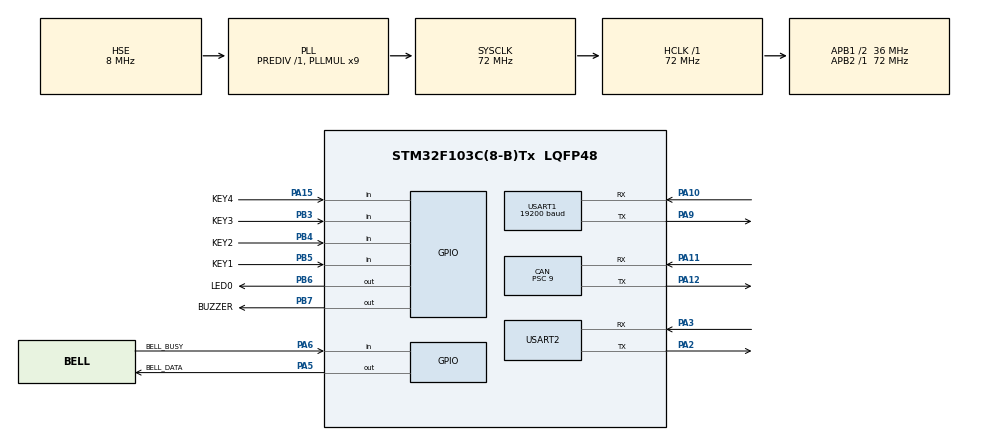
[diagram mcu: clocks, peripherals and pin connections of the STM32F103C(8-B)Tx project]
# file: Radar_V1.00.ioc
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CAN.BS1=CAN_BS1_7TQ
CAN.BS2=CAN_BS2_8TQ
CAN.CalculateTimeBit=4000
CAN.CalculateTimeQuantum=250.0
CAN.Prescaler=9
Dma.Request0=USART1_RX
Dma.Request1=USART2_RX
Dma.USART1_RX.0.Direction=DMA_PERIPH_TO_MEMORY
Dma.USART1_RX.0.Instance=DMA1_Channel5
Dma.USART1_RX.0.MemDataAlignment=DMA_MDATAALIGN_BYTE
Dma.USART1_RX.0.MemInc=DMA_MINC_ENABLE
Dma.USART1_RX.0.Mode=DMA_NORMAL
Dma.USART1_RX.0.PeriphDataAlignment=DMA_PDATAALIGN_BYTE
Dma.USART1_RX.0.PeriphInc=DMA_PINC_DISABLE
Dma.USART1_RX.0.Priority=DMA_PRIORITY_LOW
Dma.USART2_RX.1.Direction=DMA_PERIPH_TO_MEMORY
Dma.USART2_RX.1.Instance=DMA1_Channel6
Dma.USART2_RX.1.MemDataAlignment=DMA_MDATAALIGN_BYTE
Dma.USART2_RX.1.MemInc=DMA_MINC_ENABLE
Dma.USART2_RX.1.Mode=DMA_NORMAL
Dma.USART2_RX.1.PeriphDataAlignment=DMA_PDATAALIGN_BYTE
Dma.USART2_RX.1.PeriphInc=DMA_PINC_DISABLE
Dma.USART2_RX.1.Priority=DMA_PRIORITY_LOW
Mcu.Family=STM32F1
Mcu.Name=STM32F103C(8-B)Tx
Mcu.Package=LQFP48
NVIC.DMA1_Channel5_IRQn=true\:0\:0\:false\:false\:true\:false
NVIC.DMA1_Channel6_IRQn=true\:0\:0\:false\:false\:true\:false
NVIC.PriorityGroup=NVIC_PRIORITYGROUP_4
NVIC.TIM2_IRQn=true\:3\:0\:true\:false\:true\:true
NVIC.USART1_IRQn=true\:4\:0\:true\:false\:true\:true
NVIC.USART2_IRQn=true\:1\:0\:true\:false\:true\:true
NVIC.USB_LP_CAN1_RX0_IRQn=true\:0\:0\:false\:false\:true\:true
PA10.Mode=Asynchronous
PA10.Signal=USART1_RX
PA11.Mode=Master
PA11.Signal=CAN_RX
PA12.Mode=Master
PA12.Signal=CAN_TX
PA13.Mode=Serial_Wire
PA13.Signal=SYS_JTMS-SWDIO
PA14.Mode=Serial_Wire
PA14.Signal=SYS_JTCK-SWCLK
PA15.GPIO_Label=KEY4
PA15.Signal=GPIO_Input
PA2.Mode=Asynchronous
PA2.Signal=USART2_TX
PA3.Mode=Asynchronous
PA3.Signal=USART2_RX
PA5.GPIO_Label=BELL_DATA
PA5.GPIO_Speed=GPIO_SPEED_FREQ_MEDIUM
PA5.PinState=GPIO_PIN_SET
PA5.Signal=GPIO_Output
PA6.GPIO_Label=BELL_BUSY
PA6.GPIO_PuPd=GPIO_PULLUP
PA6.Signal=GPIO_Input
PA9.Mode=Asynchronous
PA9.Signal=USART1_TX
PB3.GPIO_Label=KEY3
PB3.Signal=GPIO_Input
PB4.GPIO_Label=KEY2
PB4.Signal=GPIO_Input
PB5.GPIO_Label=KEY1
PB5.Signal=GPIO_Input
PB6.GPIO_Label=LED0
PB6.PinState=GPIO_PIN_SET
PB6.Signal=GPIO_Output
PB7.GPIO_Label=BUZZER
PB7.PinState=GPIO_PIN_RESET
PB7.Signal=GPIO_Output
PD0-OSC_IN.Mode=HSE-External-Oscillator
PD0-OSC_IN.Signal=RCC_OSC_IN
PD1-OSC_OUT.Mode=HSE-External-Oscillator
PD1-OSC_OUT.Signal=RCC_OSC_OUT
ProjectManager.HeapSize=0x200
ProjectManager.StackSize=0x400
ProjectManager.TargetToolchain=MDK-ARM V5
RCC.AHBFreq_Value=72000000
RCC.APB1CLKDivider=RCC_HCLK_DIV2
RCC.APB1Freq_Value=36000000
RCC.APB1TimFreq_Value=72000000
RCC.APB2Freq_Value=72000000
RCC.APB2TimFreq_Value=72000000
RCC.HCLKFreq_Value=72000000
RCC.PLLMUL=RCC_PLL_MUL9
RCC.PLLSourceVirtual=RCC_PLLSOURCE_HSE
RCC.SYSCLKFreq_VALUE=72000000
RCC.SYSCLKSource=RCC_SYSCLKSOURCE_PLLCLK
RCC.USBFreq_Value=72000000
TIM2.AutoReloadPreload=TIM_AUTORELOAD_PRELOAD_ENABLE
TIM2.Period=1000 - 1
TIM2.Prescaler=72 * 500 -1
USART1.BaudRate=19200
USART1.VirtualMode=VM_ASYNC
USART2.VirtualMode=VM_ASYNC
VP_TIM2_VS_ClockSourceINT.Mode=Internal
board=Radar_V1.00

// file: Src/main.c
/**
  ******************************************************************************
  * File Name          : main.c
  * Description        : Main program body
  ******************************************************************************
  ** This notice applies to any and all portions of this file
  * that are not between comment pairs USER CODE BEGIN and
  * USER CODE END. Other portions of this file, whether
  * inserted by the user or by software development tools
  * are owned by their respective copyright owners.
  *
  * COPYRIGHT(c) 2018 STMicroelectronics
  *
  * Redistribution and use in source and binary forms, with or without modification,
  * are permitted provided that the following conditions are met:
  *   1. Redistributions of source code must retain the above copyright notice,
  *      this list of conditions and the following disclaimer.
  *   2. Redistributions in binary form must reproduce the above copyright notice,
  *      this list of conditions and the following disclaimer in the documentation
  *      and/or other materials provided with the distribution.
  *   3. Neither the name of STMicroelectronics nor the names of its contributors
  *      may be used to endorse or promote products derived from this software
  *      without specific prior written permission.
  *
  * THIS SOFTWARE IS PROVIDED BY THE COPYRIGHT HOLDERS AND CONTRIBUTORS "AS IS"
  * AND ANY EXPRESS OR IMPLIED WARRANTIES, INCLUDING, BUT NOT LIMITED TO, THE
  * IMPLIED WARRANTIES OF MERCHANTABILITY AND FITNESS FOR A PARTICULAR PURPOSE ARE
  * DISCLAIMED. IN NO EVENT SHALL THE COPYRIGHT HOLDER OR CONTRIBUTORS BE LIABLE
  * FOR ANY DIRECT, INDIRECT, INCIDENTAL, SPECIAL, EXEMPLARY, OR CONSEQUENTIAL
  * DAMAGES (INCLUDING, BUT NOT LIMITED TO, PROCUREMENT OF SUBSTITUTE GOODS OR
  * SERVICES; LOSS OF USE, DATA, OR PROFITS; OR BUSINESS INTERRUPTION) HOWEVER
  * CAUSED AND ON ANY THEORY OF LIABILITY, WHETHER IN CONTRACT, STRICT LIABILITY,
  * OR TORT (INCLUDING NEGLIGENCE OR OTHERWISE) ARISING IN ANY WAY OUT OF THE USE
  * OF THIS SOFTWARE, EVEN IF ADVISED OF THE POSSIBILITY OF SUCH DAMAGE.
  *
  ******************************************************************************
  */

#include "main.h"
#include "stm32f1xx_hal.h"

/* USER CODE BEGIN Includes */
#include "WTN6.h"
#include "delay.h"
#include "DWINTFT_Radar.h"
#include "InternalFlash.h"
#include "hardware_init.h"

#define MAX_PROBE_NUM 8
#define PROBE_VERSION PROBE_VERSION_8
#define PROBE_VERSION_8	0x01
#define PROBE_VERSION_10 0x03
#define TFT_RX_BUF_SIZE 32
#define CAN_FIFO_NUM_SEL 0
#define BYD_MODEL 0
#define BELL_ENABLE 0
#define VALID 0
#define INVALID 1
/* USER CODE END Includes */

CAN_HandleTypeDef hcan;

TIM_HandleTypeDef htim2;

UART_HandleTypeDef huart1;
UART_HandleTypeDef huart2;
DMA_HandleTypeDef hdma_usart1_rx;
DMA_HandleTypeDef hdma_usart2_rx;

/* USER CODE BEGIN PV */
/* Private variables ---------------------------------------------------------*/
uint8_t RadarRxComplete=0;				//雷达串口收到数据标志位
uint8_t TFTRxComplete=0;					//触摸屏收到数据标志位
uint8_t speed_flag = 0;           //收到速度数据信息
uint8_t CANRxFlag = 0;
uint8_t CANSpeedEnable;
uint8_t RadarRxBuf[32];						//雷达接收缓存
uint8_t TFTRxBuf[TFT_RX_BUF_SIZE];//触摸屏接收缓存
uint8_t vehicle_speed = 0;
uint8_t CANTxBuf[8]={0x00,0x7D,0x7D,0xAF,0x64,0x64,0x64,0xFF};
uint32_t RadarLimitDist=0x96;					//默认是1.5米
uint32_t RadarProbeOrder[10]={1,2,3,4,5,6,7,8,9,10};

/* USER CODE END PV */

void SystemClock_Config(void);
static void MX_GPIO_Init(void);
static void MX_DMA_Init(void);
static void MX_CAN_Init(void);
static void MX_TIM2_Init(void);
static void MX_USART1_UART_Init(void);
static void MX_USART2_UART_Init(void);

/* USER CODE BEGIN PFP */
/* Private function prototypes -----------------------------------------------*/
typedef struct
{
  uint8_t fornt_door;
  uint8_t rear_door;
  uint8_t vehicle_back;
  uint8_t vehicle_speed;
}RadarState_TypeDef;

static void CAN1_Filter_Speed_Init(void);
static void CAN_RxTx_Init(void);
uint8_t CheckRadarSerialData(uint8_t *pRxBuf);
void SequenceRadarProbeDist(uint8_t MaxProbeNum, uint32_t *pRadarProbeOrder, uint8_t *pRadarProbeDist, uint8_t *pRadarRxBuf);
uint8_t GetRadarMinDist(uint8_t MaxProbeNum, uint8_t *pRadarProbeDist);
uint8_t GetBellFlag(uint8_t RadarMinDist, uint8_t RadarLimitDist, RadarState_TypeDef *pRadarState);
void GetRadarState(RadarState_TypeDef *pRadar_State, uint8_t *pRadarRxBuf);
void PlayWarningSound(uint8_t BellFlag);

/* USER CODE END PFP */

int main(void)
{

  /* USER CODE BEGIN 1 */
	uint8_t i=0;
	uint8_t temp;
	uint32_t WTN6_Volume=0x03;						//默认最大音量
  uint32_t RadarExchangeLoc1=0x33;      //雷达探头交换位置1
  uint32_t RadarExchangeLoc2=0x33;      //雷达探头交换位置2
	uint8_t MaxProbeNum=8;
  uint8_t Radar_Exchange_flag = 0;
	RadarState_TypeDef RadarState={0,0,0,0};
	uint8_t BellFlag = TFT_BLANK;					//所在区域报警声音
	uint8_t LastBellFlag = TFT_BLANK;			//上次所在区域报警声音
	uint8_t RadarMinDist = 0x96;          //最大值1.5米，用来存探头最小距离
  /* USER CODE END 1 */

  /* MCU Configuration----------------------------------------------------------*/

  /* Reset of all peripherals, Initializes the Flash interface and the Systick. */
  HAL_Init();

  /* Configure the system clock */
  SystemClock_Config();

  /* Initialize all configured peripherals */
  MX_GPIO_Init();
  MX_DMA_Init();
  MX_CAN_Init();
  MX_TIM2_Init();
  MX_USART1_UART_Init();
  MX_USART2_UART_Init();

  /* USER CODE BEGIN 2 */
	HAL_Delay(2000);
  CAN1_Filter_Speed_Init();					//CAN滤波器初始化
  CAN_RxTx_Init();									//CAN发送接收初始化
	delay_init(72);

	TFT_SetProbeVersion(&huart2, PROBE_VERSION);	//设置探头版本
	//探头距离初始化
	RadarLimitDist = (uint8_t)LoadSetVal(FLASH_USER_START_ADDR+RADAR_LIMIT_OFFSET_ADDR);
	uint8_t RadarProbeDist[8];	//目前缓存里的距离设置为最远距离
	for(i=0;i<MaxProbeNum;i++) RadarProbeDist[i]=RadarLimitDist;
	//系统音量初始化
	WTN6_Volume = (uint8_t)LoadSetVal(FLASH_USER_START_ADDR+WTN6_VOLUME_OFFSET_ADDR);
	WTN6_SetVolume((uint8_t)WTN6_Volume);
	//探头顺序初始化
	LoadSetArray(FLASH_USER_START_ADDR+RADAR_PROBE_OFFSET_ADDR, RadarProbeOrder, MaxProbeNum);
  //set RadarProbeOrder
  TFT_SetRadarOrder(&huart2, RadarProbeOrder, MaxProbeNum);

	__HAL_UART_ENABLE_IT(&huart1, UART_IT_IDLE);//radar interrupt enable
	__HAL_UART_ENABLE_IT(&huart2, UART_IT_IDLE);//TFT interrupt enable

  /* USER CODE END 2 */

  /* Infinite loop */
  while (1)
  {

  /* USER CODE BEGIN 3 */
    HAL_CAN_Receive_IT(&hcan, CAN_FIFO0);         //接收CAN线车速信息
		HAL_UART_Receive_DMA(&huart1, RadarRxBuf, 32);//接收雷达距离信息
		HAL_UART_Receive_DMA(&huart2, TFTRxBuf, TFT_RX_BUF_SIZE);//接收屏幕回传指令

		if(RadarRxComplete == 1)//雷达接收完成，进行解析
		{
			RadarRxComplete=0;
			HAL_GPIO_TogglePin(LED0_GPIO_Port, LED0_Pin);																				//灯闪烁 提示接收到雷达数据
			if(VALID == CheckRadarSerialData(RadarRxBuf))																				//如果雷达串口数据校验通过
			{
				SequenceRadarProbeDist(MAX_PROBE_NUM, RadarProbeOrder, RadarProbeDist, RadarRxBuf);//将雷达探头数据对应排序
        RadarMinDist=GetRadarMinDist(MaxProbeNum, RadarProbeDist);												//获取最小雷达探头检测距离
				GetRadarState(&RadarState, RadarRxBuf);
        BellFlag=GetBellFlag(RadarMinDist, RadarLimitDist, &RadarState);									//根据最小距离用喇叭警示
        if(BellFlag!=LastBellFlag)
				{
					PlayWarningSound(BellFlag);
					LastBellFlag=BellFlag;
				}
				TFT_DispRadarDist(&huart2,  RadarMinDist); 																				//显示屏显示最小距离探头数据
				TFT_DispRadarColor(&huart2, RadarProbeDist, MaxProbeNum);													//显示屏显示颜色（波形）表示探头距离
			}
		}

		if(TFTRxComplete == 1)//屏幕信息接收完成，进行解析
		{
			TFTRxComplete=0;
      if(TFTRxBuf[0] == 0x5A && TFTRxBuf[1] == 0xA5)//判断帧头
      {
        switch(TFTRxBuf[2])
        {
          case 0x03:      //检测过滤ack指令
            break;
          case 0x18:      //读探头顺序
            for(i = 0; i < MAX_PROBE_NUM; i++)
            {
              RadarProbeOrder[i] = TFTRxBuf[8 + 2 * i];//5A A5 18 83 2004 0A +十个字长数据
            }
            break;
          case 0x08:      //有按钮按下
            switch(TFTRxBuf[5])//解析屏幕按钮按下指令
            {
              case 0x04:        //探头界面-探头按下
								if(RadarExchangeLoc1 != TFTRxBuf[10] - 1)
								{
									//存要交换的两个探头位置号（从0开始）
									if(!Radar_Exchange_flag)
									{
										Radar_Exchange_flag = 1;
										RadarExchangeLoc1 = TFTRxBuf[10] - 1;
									}
									else
									{
										Radar_Exchange_flag = 0;
										RadarExchangeLoc2 = TFTRxBuf[10] - 1;
									}
								}
                break;
              case 0x06:        //探头界面-确认按下
								if(RadarExchangeLoc1 || RadarExchangeLoc2)
                {
									temp = RadarProbeOrder[RadarExchangeLoc1];//交换探头顺序号
									RadarProbeOrder[RadarExchangeLoc1] = RadarProbeOrder[RadarExchangeLoc2];
                  RadarProbeOrder[RadarExchangeLoc2] = temp;
                  FlashWrite_ArrayUint32(FLASH_USER_START_ADDR+RADAR_PROBE_OFFSET_ADDR, (uint32_t *)RadarProbeOrder, MaxProbeNum);														//写入默认数组
                  //调用设置探头函数
                  TFT_SetRadarOrder(&huart2, RadarProbeOrder, MaxProbeNum);
                }
                break;
              case 0x00:        //音量界面-确认按下
								WTN6_Volume = TFTRxBuf[10];
                WTN6_SetVolume(WTN6_Volume);
                FlashWrite_SingleUint32(FLASH_USER_START_ADDR+WTN6_VOLUME_OFFSET_ADDR, WTN6_Volume);
                break;
              case 0x02:        //距离界面-确认按下
								//收到0x05表示0.5m，0x0F表示1.5m
                RadarLimitDist = TFTRxBuf[10] * 10;
                FlashWrite_SingleUint32(FLASH_USER_START_ADDR+RADAR_LIMIT_OFFSET_ADDR, RadarLimitDist);
                break;
              default:
                break;
            }
            break;
          default: break;
        }
      }
		}

    //显示屏显示车速
    if(speed_flag)
    {
      speed_flag = 0;
      TFT_DispVehicleSpeed(&huart2, vehicle_speed);//send speed read from can
      __HAL_CAN_ENABLE_IT(&hcan,CAN_IT_FMP0); //重新开启FIF00消息挂号中断
    }
  /* USER CODE END 3 */
	}

}

/** System Clock Configuration
*/
void SystemClock_Config(void)
{

  RCC_OscInitTypeDef RCC_OscInitStruct;
  RCC_ClkInitTypeDef RCC_ClkInitStruct;

    /**Initializes the CPU, AHB and APB busses clocks
    */
  RCC_OscInitStruct.OscillatorType = RCC_OSCILLATORTYPE_HSE;
  RCC_OscInitStruct.HSEState = RCC_HSE_ON;
  RCC_OscInitStruct.HSEPredivValue = RCC_HSE_PREDIV_DIV1;
  RCC_OscInitStruct.HSIState = RCC_HSI_ON;
  RCC_OscInitStruct.PLL.PLLState = RCC_PLL_ON;
  RCC_OscInitStruct.PLL.PLLSource = RCC_PLLSOURCE_HSE;
  RCC_OscInitStruct.PLL.PLLMUL = RCC_PLL_MUL9;
  if (HAL_RCC_OscConfig(&RCC_OscInitStruct) != HAL_OK)
  {
    _Error_Handler(__FILE__, __LINE__);
  }

    /**Initializes the CPU, AHB and APB busses clocks
    */
  RCC_ClkInitStruct.ClockType = RCC_CLOCKTYPE_HCLK|RCC_CLOCKTYPE_SYSCLK
                              |RCC_CLOCKTYPE_PCLK1|RCC_CLOCKTYPE_PCLK2;
  RCC_ClkInitStruct.SYSCLKSource = RCC_SYSCLKSOURCE_PLLCLK;
  RCC_ClkInitStruct.AHBCLKDivider = RCC_SYSCLK_DIV1;
  RCC_ClkInitStruct.APB1CLKDivider = RCC_HCLK_DIV2;
  RCC_ClkInitStruct.APB2CLKDivider = RCC_HCLK_DIV1;

  if (HAL_RCC_ClockConfig(&RCC_ClkInitStruct, FLASH_LATENCY_2) != HAL_OK)
  {
    _Error_Handler(__FILE__, __LINE__);
  }

    /**Configure the Systick interrupt time
    */
  HAL_SYSTICK_Config(HAL_RCC_GetHCLKFreq()/1000);

    /**Configure the Systick
    */
  HAL_SYSTICK_CLKSourceConfig(SYSTICK_CLKSOURCE_HCLK);

  /* SysTick_IRQn interrupt configuration */
  HAL_NVIC_SetPriority(SysTick_IRQn, 0, 0);
}

/* CAN init function */
static void MX_CAN_Init(void)
{

  hcan.Instance = CAN1;
  hcan.Init.Prescaler = 9;
  hcan.Init.Mode = CAN_MODE_NORMAL;
  hcan.Init.SJW = CAN_SJW_1TQ;
  hcan.Init.BS1 = CAN_BS1_7TQ;
  hcan.Init.BS2 = CAN_BS2_8TQ;
  hcan.Init.TTCM = DISABLE;
  hcan.Init.ABOM = DISABLE;
  hcan.Init.AWUM = DISABLE;
  hcan.Init.NART = DISABLE;
  hcan.Init.RFLM = DISABLE;
  hcan.Init.TXFP = DISABLE;
  if (HAL_CAN_Init(&hcan) != HAL_OK)
  {
    _Error_Handler(__FILE__, __LINE__);
  }

}

/* TIM2 init function */
static void MX_TIM2_Init(void)
{

  TIM_ClockConfigTypeDef sClockSourceConfig;
  TIM_MasterConfigTypeDef sMasterConfig;

  htim2.Instance = TIM2;
  htim2.Init.Prescaler = 72 -1;
  htim2.Init.CounterMode = TIM_COUNTERMODE_UP;
  htim2.Init.Period = 1000 - 1;
  htim2.Init.ClockDivision = TIM_CLOCKDIVISION_DIV1;
  htim2.Init.AutoReloadPreload = TIM_AUTORELOAD_PRELOAD_ENABLE;
  if (HAL_TIM_Base_Init(&htim2) != HAL_OK)
  {
    _Error_Handler(__FILE__, __LINE__);
  }

  sClockSourceConfig.ClockSource = TIM_CLOCKSOURCE_INTERNAL;
  if (HAL_TIM_ConfigClockSource(&htim2, &sClockSourceConfig) != HAL_OK)
  {
    _Error_Handler(__FILE__, __LINE__);
  }

  sMasterConfig.MasterOutputTrigger = TIM_TRGO_RESET;
  sMasterConfig.MasterSlaveMode = TIM_MASTERSLAVEMODE_DISABLE;
  if (HAL_TIMEx_MasterConfigSynchronization(&htim2, &sMasterConfig) != HAL_OK)
  {
    _Error_Handler(__FILE__, __LINE__);
  }

}

/* USART1 init function */
static void MX_USART1_UART_Init(void)
{

  huart1.Instance = USART1;
  huart1.Init.BaudRate = 19200;
  huart1.Init.WordLength = UART_WORDLENGTH_8B;
  huart1.Init.StopBits = UART_STOPBITS_1;
  huart1.Init.Parity = UART_PARITY_NONE;
  huart1.Init.Mode = UART_MODE_TX_RX;
  huart1.Init.HwFlowCtl = UART_HWCONTROL_NONE;
  huart1.Init.OverSampling = UART_OVERSAMPLING_16;
  if (HAL_UART_Init(&huart1) != HAL_OK)
  {
    _Error_Handler(__FILE__, __LINE__);
  }

}

/* USART2 init function */
static void MX_USART2_UART_Init(void)
{

  huart2.Instance = USART2;
  huart2.Init.BaudRate = 115200;
  huart2.Init.WordLength = UART_WORDLENGTH_8B;
  huart2.Init.StopBits = UART_STOPBITS_1;
  huart2.Init.Parity = UART_PARITY_NONE;
  huart2.Init.Mode = UART_MODE_TX_RX;
  huart2.Init.HwFlowCtl = UART_HWCONTROL_NONE;
  huart2.Init.OverSampling = UART_OVERSAMPLING_16;
  if (HAL_UART_Init(&huart2) != HAL_OK)
  {
    _Error_Handler(__FILE__, __LINE__);
  }

}

static void MX_DMA_Init(void)
{
  /* DMA controller clock enable */
  __HAL_RCC_DMA1_CLK_ENABLE();

  /* DMA interrupt init */
  /* DMA1_Channel5_IRQn interrupt configuration */
  HAL_NVIC_SetPriority(DMA1_Channel5_IRQn, 0, 0);
  HAL_NVIC_EnableIRQ(DMA1_Channel5_IRQn);
  /* DMA1_Channel6_IRQn interrupt configuration */
  HAL_NVIC_SetPriority(DMA1_Channel6_IRQn, 0, 0);
  HAL_NVIC_EnableIRQ(DMA1_Channel6_IRQn);

}

/** Configure pins as
        * Analog
        * Input
        * Output
        * EVENT_OUT
        * EXTI
*/
static void MX_GPIO_Init(void)
{

  GPIO_InitTypeDef GPIO_InitStruct;

  /* GPIO Ports Clock Enable */
  __HAL_RCC_GPIOD_CLK_ENABLE();
  __HAL_RCC_GPIOA_CLK_ENABLE();
  __HAL_RCC_GPIOB_CLK_ENABLE();

  /*Configure GPIO pin Output Level */
  HAL_GPIO_WritePin(BELL_DATA_GPIO_Port, BELL_DATA_Pin, GPIO_PIN_SET);

  /*Configure GPIO pin Output Level */
  HAL_GPIO_WritePin(LED0_GPIO_Port, LED0_Pin, GPIO_PIN_SET);

  /*Configure GPIO pin Output Level */
  HAL_GPIO_WritePin(BUZZER_GPIO_Port, BUZZER_Pin, GPIO_PIN_RESET);

  /*Configure GPIO pin : BELL_DATA_Pin */
  GPIO_InitStruct.Pin = BELL_DATA_Pin;
  GPIO_InitStruct.Mode = GPIO_MODE_OUTPUT_PP;
  GPIO_InitStruct.Speed = GPIO_SPEED_FREQ_MEDIUM;
  HAL_GPIO_Init(BELL_DATA_GPIO_Port, &GPIO_InitStruct);

  /*Configure GPIO pin : BELL_BUSY_Pin */
  GPIO_InitStruct.Pin = BELL_BUSY_Pin;
  GPIO_InitStruct.Mode = GPIO_MODE_INPUT;
  GPIO_InitStruct.Pull = GPIO_PULLUP;
  HAL_GPIO_Init(BELL_BUSY_GPIO_Port, &GPIO_InitStruct);

  /*Configure GPIO pin : KEY4_Pin */
  GPIO_InitStruct.Pin = KEY4_Pin;
  GPIO_InitStruct.Mode = GPIO_MODE_INPUT;
  GPIO_InitStruct.Pull = GPIO_NOPULL;
  HAL_GPIO_Init(KEY4_GPIO_Port, &GPIO_InitStruct);

  /*Configure GPIO pins : KEY3_Pin KEY2_Pin KEY1_Pin */
  GPIO_InitStruct.Pin = KEY3_Pin|KEY2_Pin|KEY1_Pin;
  GPIO_InitStruct.Mode = GPIO_MODE_INPUT;
  GPIO_InitStruct.Pull = GPIO_NOPULL;
  HAL_GPIO_Init(GPIOB, &GPIO_InitStruct);

  /*Configure GPIO pins : LED0_Pin BUZZER_Pin */
  GPIO_InitStruct.Pin = LED0_Pin|BUZZER_Pin;
  GPIO_InitStruct.Mode = GPIO_MODE_OUTPUT_PP;
  GPIO_InitStruct.Speed = GPIO_SPEED_FREQ_LOW;
  HAL_GPIO_Init(GPIOB, &GPIO_InitStruct);

}

/* USER CODE BEGIN 4 */
/**
 * [HAL_TIM_PeriodElapsedCallback is called every (1/72M * 72 * 1000) second]
 * which is set in MX_TIM2_Init() via STM32cubeMX
 * @param htim [htim index, eg.htim2]
 */
void HAL_TIM_PeriodElapsedCallback(TIM_HandleTypeDef *htim)
{
  if(htim->Instance == htim2.Instance)
  {

  }
}

/*CAN Rx/Tx Init */
static void CAN_RxTx_Init(void)
{
  static CanTxMsgTypeDef        CanTxMessage;
  static CanRxMsgTypeDef        CanRxMessage;

  hcan.Instance = CAN1;
  hcan.pRxMsg = &CanRxMessage;
  hcan.pTxMsg = &CanTxMessage;

  hcan.pTxMsg->DLC = 8;
  hcan.pTxMsg->IDE = CAN_ID_EXT;
  hcan.pTxMsg->RTR = CAN_RTR_DATA;
}

/* CAN filter BYD Speed init function */
static void CAN1_Filter_Speed_Init(void)
{
  CAN_FilterConfTypeDef  CAN1_FilterConf;
  CAN1_FilterConf.FilterNumber = 0;
  #ifdef BYD_MODEL
  CAN1_FilterConf.FilterIdHigh=0X07F7;     //32位ID  ID:FEF1     车速
  CAN1_FilterConf.FilterIdLow=0X8800;
  #endif

  #ifdef KINGLONG_MODEL
  CAN1_FilterConf.FilterIdHigh=0X07F3;     //32位ID  ID:FE6C     车速
  CAN1_FilterConf.FilterIdLow=0X6800;
  #endif

  CAN1_FilterConf.FilterMaskIdHigh=0x07FF; //32位MASK
  CAN1_FilterConf.FilterMaskIdLow=0XF800;
  CAN1_FilterConf.BankNumber=1;

  CAN1_FilterConf.FilterFIFOAssignment=CAN_FILTER_FIFO0;//过滤器0关联到FIFO0
  CAN1_FilterConf.FilterNumber=CAN_FIFO_NUM_SEL;          //过滤器0
  CAN1_FilterConf.FilterMode=CAN_FILTERMODE_IDMASK;
  CAN1_FilterConf.FilterScale=CAN_FILTERSCALE_32BIT;
  CAN1_FilterConf.FilterActivation=ENABLE; //激活滤波器0

  if(HAL_CAN_ConfigFilter(&hcan,&CAN1_FilterConf)!=HAL_OK)
  {
    _Error_Handler(__FILE__, __LINE__);
  }
  __HAL_CAN_ENABLE_IT(&hcan,CAN_IT_FMP0);//重新开启FIF00消息挂号中断
}

/* CAN RxCpltCallback function */
void HAL_CAN_RxCpltCallback(CAN_HandleTypeDef* hcan)
{
  #ifdef BYD_MODEL
		if((speed_flag==0) && (hcan->pRxMsg->ExtId==0x18FEF100))
		{
			vehicle_speed=hcan->pRxMsg->Data[2];
			speed_flag=1;						//speed数据齐全，赋值flag
			//CAN_speed_enable=1;//（原）发送flag
		}
		#endif

  #ifdef KINGLONG_MODEL
  if((speed_flag==0) && (hcan->pRxMsg->ExtId==0x0CFE6CD1))
  {
    vehicle_speed = hcan->pRxMsg->Data[7];
    speed_flag=1;           //speed数据齐全
    //CAN_speed_enable=1;//（原)发送flag
  }
  #endif
}
//检查雷达串口数据正确与否
uint8_t CheckRadarSerialData(uint8_t *pRxBuf)
{
	uint8_t sum = 0;
  uint8_t checksum = *(pRxBuf+14);//校验和赋值
	uint8_t i=0;
	for(i = 1;i < 14;i++)//计算收到的数据的和
	{
		sum += *(pRxBuf+i);
	}
	if(checksum == sum && 0x55 == *pRxBuf)//校验和判断 && 帧开始字节
		return VALID;
	else
		return INVALID;
}

void SequenceRadarProbeDist(uint8_t MaxProbeNum, uint32_t *pRadarProbeOrder, uint8_t *pRadarProbeDist, uint8_t *pRadarRxBuf)
{
	uint8_t i=0;
	if(8 == MaxProbeNum)    //如果是8探头
	{
		//给探头数据赋值
		//顺序为5#7#8#6#1#2#4#****3#
		//      1 2 3 4 5 6 7     12
		for(i = 0; i < MAX_PROBE_NUM; i++)
		{
			switch(RadarProbeOrder[i])//根据探头顺序数组找某位置的探头序号
			{
				case 5:*(pRadarProbeDist+i) = RadarRxBuf[1];break;
				case 7:*(pRadarProbeDist+i) = RadarRxBuf[2];break;
				case 8:*(pRadarProbeDist+i) = RadarRxBuf[3];break;
				case 6:*(pRadarProbeDist+i) = RadarRxBuf[4];break;
				case 1:*(pRadarProbeDist+i) = RadarRxBuf[5];break;
				case 2:*(pRadarProbeDist+i) = RadarRxBuf[6];break;
				case 4:*(pRadarProbeDist+i) = RadarRxBuf[7];break;
				case 3:*(pRadarProbeDist+i) = RadarRxBuf[12];break;
				default: break;
			}
		}
	}
	else
	{
		//给探头数据赋值
		//顺序为8#9#10#*1#2#3#4#5#6#7#*
		//      1 2 3   5 6 7 8 9 10 11
		for(i = 0; i < MAX_PROBE_NUM; i++)
		{
			switch(RadarProbeOrder[i])//根据探头顺序数组找某位置的探头序号
			{
				case 1:*(pRadarProbeDist+i) = RadarRxBuf[5];break;
				case 2:*(pRadarProbeDist+i) = RadarRxBuf[6];break;
				case 3:*(pRadarProbeDist+i) = RadarRxBuf[7];break;
				case 4:*(pRadarProbeDist+i) = RadarRxBuf[8];break;
				case 5:*(pRadarProbeDist+i) = RadarRxBuf[9];break;
				case 6:*(pRadarProbeDist+i) = RadarRxBuf[10];break;
				case 7:*(pRadarProbeDist+i) = RadarRxBuf[11];break;
				case 8:*(pRadarProbeDist+i) = RadarRxBuf[1];break;
				case 9:*(pRadarProbeDist+i) = RadarRxBuf[2];break;
				case 10:*(pRadarProbeDist+i) = RadarRxBuf[3];break;
				default: break;
			}
		}
	}
}

uint8_t GetRadarMinDist(uint8_t MaxProbeNum, uint8_t *pRadarProbeDist)
{
	uint8_t RadarMinDist = 0xFD;
	uint8_t i=0;
	for(i = 0; i < MaxProbeNum; i++)
	{
		if(RadarMinDist > *(pRadarProbeDist+i))
			RadarMinDist = *(pRadarProbeDist+i);//寻找探头最小距离
	}
	return RadarMinDist;
}

uint8_t GetBellFlag(uint8_t RadarMinDist, uint8_t RadarLimitDist, RadarState_TypeDef *pRadarState)
{
	uint8_t BellFlag;
	//如果前后门任何一个开启或者车速高则进入静音状态
	if(pRadarState->fornt_door!=0||pRadarState->rear_door!=0|| pRadarState->vehicle_speed==0)
		BellFlag = TFT_MUTE;
	else
	{
		if(RadarMinDist <= (RadarLimitDist * 1/3))	BellFlag = TFT_RED;							//距离在0.5m
		else if(RadarMinDist <= (RadarLimitDist * 2/3))  BellFlag = TFT_YELLOW;			//距离在0.5m~1m
		else if(RadarMinDist <= RadarLimitDist)  BellFlag = TFT_GREEN;							//距离在1~1.5m
		else	BellFlag = TFT_BLANK;																									//距离在1.5m之外
	}
	return BellFlag;
}

void GetRadarState(RadarState_TypeDef *pRadarState, uint8_t *pRadarRxBuf)
{

	pRadarState->fornt_door = RadarRxBuf[13] & 0x01;//bit0表示前门，0关1开
	pRadarState->rear_door = (RadarRxBuf[13] & 0x02) >> 1; //bit1表示后门，0关1开
	pRadarState->vehicle_back = (RadarRxBuf[13] & 0x04) >> 2;  //bit2表示倒车状态，0前1倒
	pRadarState->vehicle_speed = (RadarRxBuf[13] & 0x08) >> 3; //bit3表示车速，0高1低
}

void PlayWarningSound(uint8_t BellFlag)
{
	switch(BellFlag)
	{
		case TFT_RED:
			WTN6_Broadcast(BELL_STOP);
			Delay_us(2000);
			WTN6_Broadcast(BELL_BB_200MS);
			Delay_us(2000);
			WTN6_Broadcast(BELL_WHILE);
		break;
		case TFT_YELLOW:
			WTN6_Broadcast(BELL_STOP);
			Delay_us(2000);
			WTN6_Broadcast(BELL_BB_500MS);
			Delay_us(2000);
			WTN6_Broadcast(BELL_WHILE);
		break;
		case TFT_GREEN:
			WTN6_Broadcast(BELL_STOP);
			Delay_us(2000);
			WTN6_Broadcast(BELL_BB_1000MS);
			Delay_us(2000);
			WTN6_Broadcast(BELL_WHILE);
		break;
		case TFT_BLANK:
			WTN6_Broadcast(BELL_STOP);
			Delay_us(2000);
		break;
		default:
			break;
	}
}
/* USER CODE END 4 */

void _Error_Handler(char * file, int line)
{
  while(1)
  {
  }
}

/************************ (C) COPYRIGHT STMicroelectronics *****END OF FILE****/
